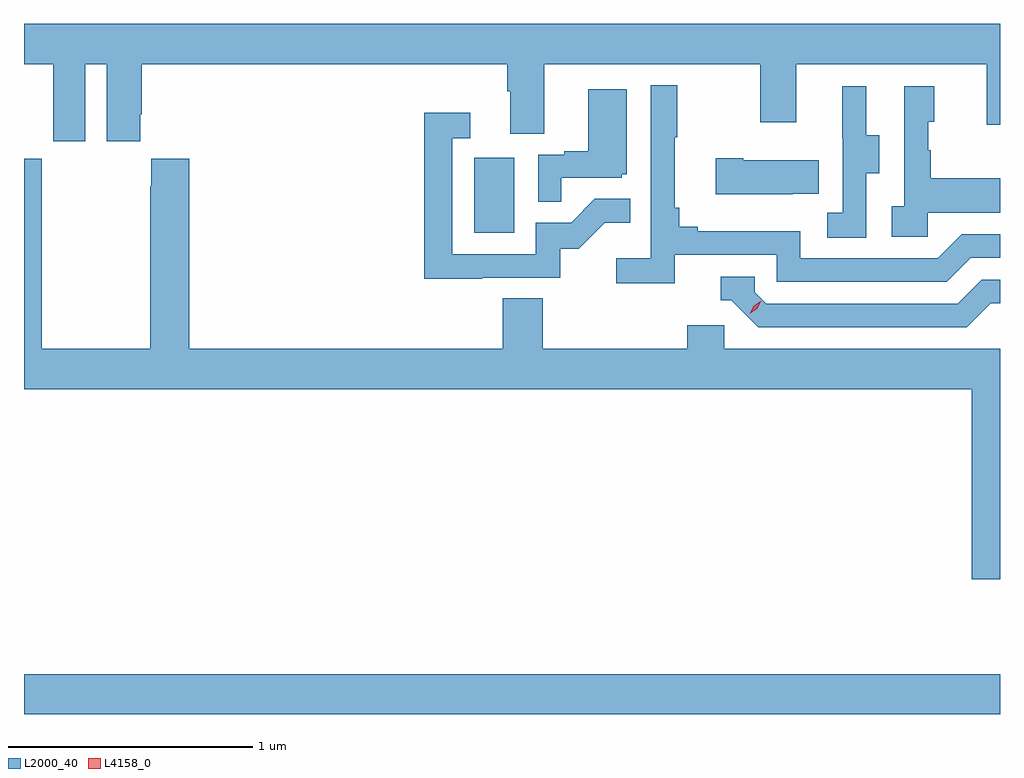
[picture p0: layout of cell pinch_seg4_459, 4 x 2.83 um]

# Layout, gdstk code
import gdstk
lib = gdstk.Library(unit=1e-6, precision=1e-09)
def R(c, l, rs):  # rectangles x0, y0, x1, y1
    for r in rs: c.add(gdstk.rectangle(r[:2], r[2:], *l))
def P(c, l, *ps):  # polygons
    for p in ps: c.add(gdstk.Polygon(p, *l))
L2000_40 = (2000, 40)
L4158_0 = (4158, 0)

pinch_seg4_459 = lib.new_cell('pinch_seg4_459')
R(pinch_seg4_459, L2000_40, [(910.949,763.52,914.949,763.684), (912.794,765.492,912.958,765.799)])
P(pinch_seg4_459, L2000_40, [(911.2,766.184),(911.288,766.184),(911.288,765.867),(911.425,765.867),(911.425,765.979),(911.432,765.979),(911.432,766.184),(912.929,766.184),(912.929,766.072),(912.941,766.072),(912.941,765.898),(913.081,765.898),(913.081,766.184),(913.966,766.184),(913.966,765.945),(914.113,765.945),(914.113,766.184),(914.894,766.184),(914.894,765.936),(914.949,765.936),(914.949,766.348),(910.949,766.348),(910.949,766.184),(911.069,766.184),(911.069,765.867),(911.2,765.867)],
  [(913.616,765.402),(914.034,765.402),(914.034,765.291),(914.731,765.291),(914.83,765.39),(914.949,765.39),(914.949,765.486),(914.793,765.486),(914.694,765.387),(914.13,765.387),(914.13,765.499),(913.711,765.499),(913.711,765.518),(913.634,765.518),(913.634,765.595),(913.615,765.595),(913.615,765.883),(913.627,765.883),(913.627,766.096),(913.518,766.096),(913.518,765.388),(913.377,765.388),(913.377,765.286),(913.616,765.286)],
  [(914.652,765.575),(914.949,765.575),(914.949,765.715),(914.665,765.715),(914.665,765.83),(914.655,765.83),(914.655,765.948),(914.68,765.948),(914.68,766.093),(914.556,766.093),(914.556,765.602),(914.505,765.602),(914.505,765.477),(914.652,765.477)],
  [(914.4,765.736),(914.455,765.736),(914.455,765.891),(914.401,765.891),(914.401,766.093),(914.303,766.093),(914.303,765.879),(914.304,765.879),(914.304,765.575),(914.241,765.575),(914.241,765.472),(914.4,765.472)],
  [(913.151,765.717),(913.398,765.717),(913.398,765.732),(913.42,765.732),(913.42,766.081),(913.262,766.081),(913.262,765.826),(913.163,765.826),(913.163,765.813),(913.056,765.813),(913.056,765.619),(913.151,765.619)],
  [(912.827,765.309),(913.146,765.309),(913.146,765.426),(913.222,765.426),(913.329,765.533),(913.433,765.533),(913.433,765.632),(913.289,765.632),(913.191,765.534),(913.047,765.534),(913.047,765.405),(912.705,765.405),(912.705,765.879),(912.778,765.879),(912.778,765.985),(912.589,765.985),(912.589,765.304),(912.827,765.304)],
  [(914.099,765.653),(914.207,765.653),(914.207,765.79),(913.897,765.79),(913.897,765.798),(913.785,765.798),(913.785,765.65),(914.099,765.65)],
  [(914.949,765.016),(913.818,765.016),(913.818,765.114),(913.667,765.114),(913.667,765.016),(913.076,765.016),(913.076,765.224),(912.911,765.224),(912.911,765.016),(911.627,765.016),(911.627,765.796),(911.471,765.796),(911.471,765.683),(911.467,765.683),(911.467,765.016),(911.022,765.016),(911.022,765.796),(910.949,765.796),(910.949,764.852),(914.834,764.852),(914.834,764.073),(914.949,764.073)],
  [(914.911,765.204),(914.949,765.204),(914.949,765.3),(914.874,765.3),(914.775,765.201),(913.992,765.201),(913.944,765.249),(913.944,765.312),(913.805,765.312),(913.805,765.216),(913.848,765.216),(913.959,765.105),(914.812,765.105)])
P(pinch_seg4_459, L4158_0, [(913.923,765.161),(913.923,765.161),(913.939,765.194),(913.97,765.213),(913.97,765.213),(913.97,765.213),(913.954,765.18),(913.923,765.161)])

lib.write_gds('pinch_seg4_459.gds')
